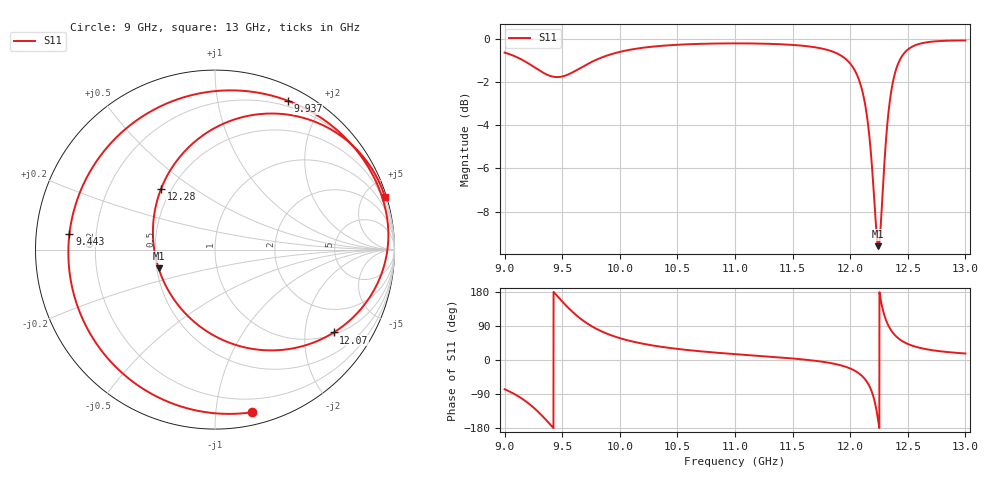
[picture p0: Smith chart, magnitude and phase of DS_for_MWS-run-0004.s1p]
! TOUCHSTONE file generated by CST DESIGN STUDIO
! Date and time: Tue Feb  4 16:13:14 2025
! Project name: C:\Work\MatlabApps\UnitCellOptimizationMatlab\CST\unitcell.cst
! Tree item: Tasks\Sweep1\SPara1\S-Parameters
! Header version: 2024
! Port assignment regex: !\s*Touchstone port\s*([0-9]+)\s*=\s*(CST MWS port|CST DES external port|CST DES block port)\s*(.+)\s* \(\"(.*)\"\)(\s*mode\s*([0-9]+))?.*
! Touchstone port assignment:
! Touchstone port 1 = CST DES external port 1 ("")
# GHz S MA R 50
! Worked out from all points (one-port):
!   4001 points, 9 GHz to 13 GHz, reference 50 ohm
!   lowest |S11| = -9.6 dB at 12.24 GHz (marker M1), VSWR 1.99, Z = 25.6 - j5.95 ohm
!   |S11| at or under -10 dB: nowhere
!   S11 on the Smith chart (normalised r, x): 9 GHz: 0.09, -1.25; 9.443 GHz: 0.10, +0.05; 9.937 GHz: 0.14, +1.59; 12.07 GHz: 1.07, -2.82; 12.28 GHz: 0.44, +0.37; 13 GHz: 0.19, +6.62
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9  0.9294 -77.2
9.13  0.9006 -97.9
9.232  0.8687 -120.5
9.35  0.8306 -154.9
9.443  0.8158 173.7
9.5  0.8181 154.4
9.59  0.8364 126.8
9.682  0.8632 103.8
9.937  0.9233 63.9
10  0.9329 57.7
10.215  0.9548 42.1
10.5  0.969 29.3
11  0.9762 15.5
11.5  0.9682 4.0
11.8  0.9431 -6.5
12  0.8766 -22.4
12.074  0.8068 -34.9
12.127  0.7111 -50.2
12.176  0.559 -74.9
12.21  0.4182 -106.3
12.244  0.3309 -161.8
12.284  0.4516 131.8
12.321  0.6294 97.8
12.36  0.7666 76.3
12.424  0.8859 55.7
12.5  0.9443 42.3
12.675  0.9827 27.7
13  0.9915 17.2
